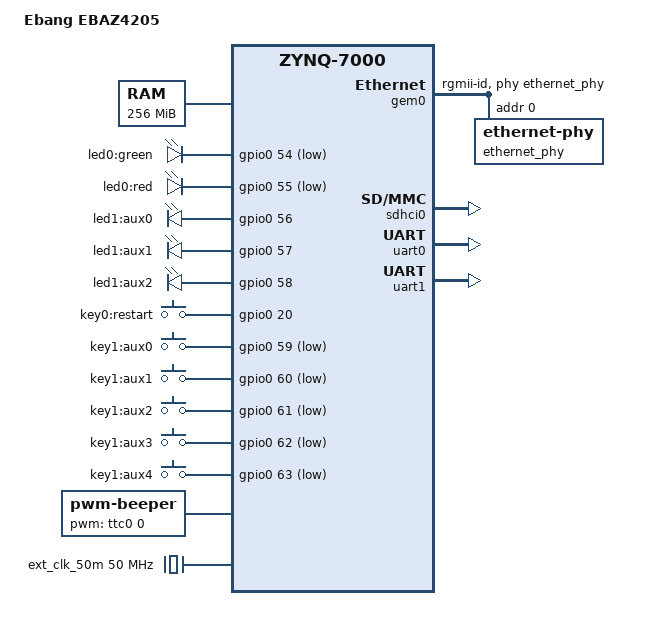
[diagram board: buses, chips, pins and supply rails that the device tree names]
// SPDX-License-Identifier: GPL-2.0
/dts-v1/;
#include "zynq-7000.dtsi"
#include <dt-bindings/input/input.h>
#include <dt-bindings/gpio/gpio.h>
#include <dt-bindings/interrupt-controller/irq.h>

/ {
	model = "Ebang EBAZ4205";
	compatible = "ebang,ebaz4205", "xlnx,zynq-7000";

	aliases {
		ethernet0 = &gem0;
		serial0 = &uart1;
		serial1 = &uart0;
		mmc0 = &sdhci0;
	};

	memory@0 {
		device_type = "memory";
		reg = <0x0 0x10000000>;
	};

	chosen {
		bootargs = "console=ttyPS1,115200 console=ttyPS0,115200 root=/dev/mmcblk0p2 rootfstype=ext4 rootwait rw";
		stdout-path = "serial0:115200n8";
	};

	leds {
		compatible = "gpio-leds";

		heartbeat: led0 {
			label = "led0:green";
			gpios = <&gpio0 54 GPIO_ACTIVE_LOW>;
			linux,default-trigger = "heartbeat";
		};

		led1 {
			label = "led0:red";
			gpios = <&gpio0 55 GPIO_ACTIVE_LOW>;
			linux,default-state = "off";
		};

		led2 {
			label = "led1:aux0";
			gpios = <&gpio0 56 GPIO_ACTIVE_HIGH>;
			linux,default-state = "off";
		};

		led3 {
			label = "led1:aux1";
			gpios = <&gpio0 57 GPIO_ACTIVE_HIGH>;
			linux,default-state = "off";
		};

		led4 {
			label = "led1:aux2";
			gpios = <&gpio0 58 GPIO_ACTIVE_HIGH>;
			linux,default-state = "off";
		};
	};

	keys {
		compatible = "gpio-keys";

		restart_key: restart {
			label = "key0:restart";
			linux,code = <KEY_RESTART>;
			gpios = <&gpio0 20 GPIO_ACTIVE_HIGH>;
		};

		key0 {
			label = "key1:aux0";
			linux,code = <KEY_LEFT>;
			gpios = <&gpio0 59 GPIO_ACTIVE_LOW>;
		};

		key1 {
			label = "key1:aux1";
			linux,code = <KEY_DOWN>;
			gpios = <&gpio0 60 GPIO_ACTIVE_LOW>;
		};

		key2 {
			label = "key1:aux2";
			linux,code = <KEY_ENTER>;
			gpios = <&gpio0 61 GPIO_ACTIVE_LOW>;
		};

		key3 {
			label = "key1:aux3";
			linux,code = <KEY_RIGHT>;
			gpios = <&gpio0 62 GPIO_ACTIVE_LOW>;
		};

		key4 {
			label = "key1:aux4";
			linux,code = <KEY_UP>;
			gpios = <&gpio0 63 GPIO_ACTIVE_LOW>;
		};
	};

	beeper {
		compatible = "pwm-beeper";
		pwms = <&ttc0 0 370370 0>; /* 2.7 kHz, normal polarity */
	};

	ext_clk_50m: ext_clk_50m {
		compatible = "fixed-clock";
		#clock-cells = <0>;
		clock-frequency = <50000000>; /* 50 MHz */
	};
};

&ttc0 {
	#pwm-cells = <3>;
};

&clkc {
	ps-clk-frequency = <33333333>;
	fclk-enable = <0xf>;
};

&gem0 {
	status = "okay";
	phy-mode = "rgmii-id";
	phy-handle = <&ethernet_phy>;

	ethernet_phy: ethernet-phy@0 {
		reg = <0>;
	};
};

&sdhci0 {
	status = "okay";
	u-boot,dm-pre-reloc;
};

&gpio0 {
	status = "okay";
};

&uart0 {
	status = "okay";
	u-boot,dm-pre-reloc;
};

&uart1 {
	status = "okay";
	u-boot,dm-pre-reloc;
};
